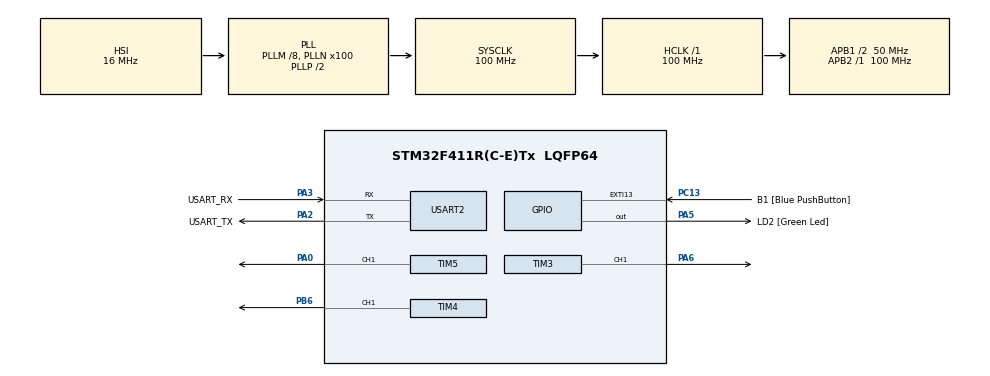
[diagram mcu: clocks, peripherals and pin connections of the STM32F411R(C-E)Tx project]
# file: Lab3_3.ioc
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Mcu.Family=STM32F4
Mcu.Name=STM32F411R(C-E)Tx
Mcu.Package=LQFP64
NVIC.PriorityGroup=NVIC_PRIORITYGROUP_0
NVIC.TIM3_IRQn=true\:0\:0\:false\:false\:true\:true\:true\:true
NVIC.TIM4_IRQn=true\:0\:0\:false\:false\:true\:true\:true\:true
NVIC.TIM5_IRQn=true\:0\:0\:false\:false\:true\:true\:true\:true
PA0-WKUP.Signal=S_TIM5_CH1
PA13.GPIO_Label=TMS
PA13.Mode=Serial_Wire
PA13.Signal=SYS_JTMS-SWDIO
PA14.GPIO_Label=TCK
PA14.Mode=Serial_Wire
PA14.Signal=SYS_JTCK-SWCLK
PA2.GPIO_Label=USART_TX
PA2.Mode=Asynchronous
PA2.Signal=USART2_TX
PA3.GPIO_Label=USART_RX
PA3.Mode=Asynchronous
PA3.Signal=USART2_RX
PA5.GPIO_Label=LD2 [Green Led]
PA5.Signal=GPIO_Output
PA6.Signal=S_TIM3_CH1
PB3.GPIO_Label=SWO
PB3.Signal=SYS_JTDO-SWO
PB6.Signal=S_TIM4_CH1
PC13-ANTI_TAMP.GPIO_Label=B1 [Blue PushButton]
PC13-ANTI_TAMP.GPIO_ModeDefaultEXTI=GPIO_MODE_IT_FALLING
PC13-ANTI_TAMP.Signal=GPXTI13
PC14-OSC32_IN.Mode=LSE-External-Oscillator
PC14-OSC32_IN.Signal=RCC_OSC32_IN
PC15-OSC32_OUT.Mode=LSE-External-Oscillator
PC15-OSC32_OUT.Signal=RCC_OSC32_OUT
PH0\ -\ OSC_IN.Mode=HSE-External-Clock-Source
PH0\ -\ OSC_IN.Signal=RCC_OSC_IN
PH1\ -\ OSC_OUT.Mode=HSE-External-Clock-Source
PH1\ -\ OSC_OUT.Signal=RCC_OSC_OUT
ProjectManager.HeapSize=0x200
ProjectManager.StackSize=0x400
ProjectManager.TargetToolchain=STM32CubeIDE
RCC.48MHZClocksFreq_Value=50000000
RCC.AHBFreq_Value=100000000
RCC.APB1CLKDivider=RCC_HCLK_DIV2
RCC.APB1Freq_Value=50000000
RCC.APB1TimFreq_Value=100000000
RCC.APB2Freq_Value=100000000
RCC.APB2TimFreq_Value=100000000
RCC.CortexFreq_Value=100000000
RCC.FLatency-AdvancedSettings=FLASH_LATENCY_3
RCC.HCLKFreq_Value=100000000
RCC.HSE_VALUE=8000000
RCC.HSI_VALUE=16000000
RCC.PLLM=8
RCC.PLLN=100
RCC.SYSCLKFreq_VALUE=100000000
RCC.SYSCLKSource=RCC_SYSCLKSOURCE_PLLCLK
RCC.VCOOutputFreq_Value=200000000
SH.S_TIM3_CH1.0=TIM3_CH1,PWM Generation1 CH1
SH.S_TIM4_CH1.0=TIM4_CH1,PWM Generation1 CH1
SH.S_TIM5_CH1.0=TIM5_CH1,PWM Generation1 CH1
TIM3.Channel-PWM\ Generation1\ CH1=TIM_CHANNEL_1
TIM3.Period=9999
TIM3.Prescaler=2499
TIM4.Channel-PWM\ Generation1\ CH1=TIM_CHANNEL_1
TIM4.Period=4904
TIM4.Prescaler=4999
TIM5.Channel-PWM\ Generation1\ CH1=TIM_CHANNEL_1
TIM5.Period=9998
TIM5.Prescaler=9999
USART2.VirtualMode=VM_ASYNC
VP_TIM3_VS_ClockSourceINT.Mode=Internal
VP_TIM4_VS_ClockSourceINT.Mode=Internal
VP_TIM5_VS_ClockSourceINT.Mode=Internal
board=NUCLEO-F411RE

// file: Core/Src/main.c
/* USER CODE BEGIN Header */
/**
  ******************************************************************************
  * @file           : main.c
  * @brief          : Main program body
  ******************************************************************************
  * @attention
  *
  * Copyright (c) 2024 STMicroelectronics.
  * All rights reserved.
  *
  * This software is licensed under terms that can be found in the LICENSE file
  * in the root directory of this software component.
  * If no LICENSE file comes with this software, it is provided AS-IS.
  *
  ******************************************************************************
  */
/* USER CODE END Header */
#include "main.h"

/* USER CODE BEGIN Includes */
#include "stm32f4xx_hal_uart.h"
/* USER CODE END Includes */

TIM_HandleTypeDef htim3;
TIM_HandleTypeDef htim4;
TIM_HandleTypeDef htim5;

UART_HandleTypeDef huart2;

void SystemClock_Config(void);
static void MX_GPIO_Init(void);
static void MX_USART2_UART_Init(void);
static void MX_TIM3_Init(void);
static void MX_TIM4_Init(void);
static void MX_TIM5_Init(void);
/* USER CODE BEGIN PFP */
int green = 0;
int orange = 0;

/* USER CODE END PFP */

int main(void)
{

  /* MCU Configuration--------------------------------------------------------*/

  /* Reset of all peripherals, Initializes the Flash interface and the Systick. */
  HAL_Init();

  /* Configure the system clock */
  SystemClock_Config();

  /* Initialize all configured peripherals */
  MX_GPIO_Init();
  MX_USART2_UART_Init();
  MX_TIM3_Init();
  MX_TIM4_Init();
  MX_TIM5_Init();
  /* USER CODE BEGIN 2 */
  HAL_TIM_Base_Start_IT(&htim3);
  HAL_TIM_Base_Start_IT(&htim4);
  HAL_TIM_Base_Start_IT(&htim5);
  /* USER CODE END 2 */

  /* Infinite loop */
  while (1)
  {

  }
}

void SystemClock_Config(void)
{
  RCC_OscInitTypeDef RCC_OscInitStruct = {0};
  RCC_ClkInitTypeDef RCC_ClkInitStruct = {0};

  /** Configure the main internal regulator output voltage
  */
  __HAL_RCC_PWR_CLK_ENABLE();
  __HAL_PWR_VOLTAGESCALING_CONFIG(PWR_REGULATOR_VOLTAGE_SCALE1);

  /** Initializes the RCC Oscillators according to the specified parameters
  * in the RCC_OscInitTypeDef structure.
  */
  RCC_OscInitStruct.OscillatorType = RCC_OSCILLATORTYPE_HSI;
  RCC_OscInitStruct.HSIState = RCC_HSI_ON;
  RCC_OscInitStruct.HSICalibrationValue = RCC_HSICALIBRATION_DEFAULT;
  RCC_OscInitStruct.PLL.PLLState = RCC_PLL_ON;
  RCC_OscInitStruct.PLL.PLLSource = RCC_PLLSOURCE_HSI;
  RCC_OscInitStruct.PLL.PLLM = 8;
  RCC_OscInitStruct.PLL.PLLN = 100;
  RCC_OscInitStruct.PLL.PLLP = RCC_PLLP_DIV2;
  RCC_OscInitStruct.PLL.PLLQ = 4;
  if (HAL_RCC_OscConfig(&RCC_OscInitStruct) != HAL_OK)
  {
    Error_Handler();
  }

  /** Initializes the CPU, AHB and APB buses clocks
  */
  RCC_ClkInitStruct.ClockType = RCC_CLOCKTYPE_HCLK|RCC_CLOCKTYPE_SYSCLK
                              |RCC_CLOCKTYPE_PCLK1|RCC_CLOCKTYPE_PCLK2;
  RCC_ClkInitStruct.SYSCLKSource = RCC_SYSCLKSOURCE_PLLCLK;
  RCC_ClkInitStruct.AHBCLKDivider = RCC_SYSCLK_DIV1;
  RCC_ClkInitStruct.APB1CLKDivider = RCC_HCLK_DIV2;
  RCC_ClkInitStruct.APB2CLKDivider = RCC_HCLK_DIV1;

  if (HAL_RCC_ClockConfig(&RCC_ClkInitStruct, FLASH_LATENCY_3) != HAL_OK)
  {
    Error_Handler();
  }
}

static void MX_TIM3_Init(void)
{

  TIM_ClockConfigTypeDef sClockSourceConfig = {0};
  TIM_MasterConfigTypeDef sMasterConfig = {0};
  TIM_OC_InitTypeDef sConfigOC = {0};

  htim3.Instance = TIM3;
  htim3.Init.Prescaler = 2499;
  htim3.Init.CounterMode = TIM_COUNTERMODE_UP;
  htim3.Init.Period = 9999;
  htim3.Init.ClockDivision = TIM_CLOCKDIVISION_DIV1;
  htim3.Init.AutoReloadPreload = TIM_AUTORELOAD_PRELOAD_DISABLE;
  if (HAL_TIM_Base_Init(&htim3) != HAL_OK)
  {
    Error_Handler();
  }
  sClockSourceConfig.ClockSource = TIM_CLOCKSOURCE_INTERNAL;
  if (HAL_TIM_ConfigClockSource(&htim3, &sClockSourceConfig) != HAL_OK)
  {
    Error_Handler();
  }
  if (HAL_TIM_PWM_Init(&htim3) != HAL_OK)
  {
    Error_Handler();
  }
  sMasterConfig.MasterOutputTrigger = TIM_TRGO_RESET;
  sMasterConfig.MasterSlaveMode = TIM_MASTERSLAVEMODE_DISABLE;
  if (HAL_TIMEx_MasterConfigSynchronization(&htim3, &sMasterConfig) != HAL_OK)
  {
    Error_Handler();
  }
  sConfigOC.OCMode = TIM_OCMODE_PWM1;
  sConfigOC.Pulse = 0;
  sConfigOC.OCPolarity = TIM_OCPOLARITY_HIGH;
  sConfigOC.OCFastMode = TIM_OCFAST_DISABLE;
  if (HAL_TIM_PWM_ConfigChannel(&htim3, &sConfigOC, TIM_CHANNEL_1) != HAL_OK)
  {
    Error_Handler();
  }
  HAL_TIM_MspPostInit(&htim3);

}

static void MX_TIM4_Init(void)
{

  TIM_ClockConfigTypeDef sClockSourceConfig = {0};
  TIM_MasterConfigTypeDef sMasterConfig = {0};
  TIM_OC_InitTypeDef sConfigOC = {0};

  htim4.Instance = TIM4;
  htim4.Init.Prescaler = 4999;
  htim4.Init.CounterMode = TIM_COUNTERMODE_UP;
  htim4.Init.Period = 4904;
  htim4.Init.ClockDivision = TIM_CLOCKDIVISION_DIV1;
  htim4.Init.AutoReloadPreload = TIM_AUTORELOAD_PRELOAD_DISABLE;
  if (HAL_TIM_Base_Init(&htim4) != HAL_OK)
  {
    Error_Handler();
  }
  sClockSourceConfig.ClockSource = TIM_CLOCKSOURCE_INTERNAL;
  if (HAL_TIM_ConfigClockSource(&htim4, &sClockSourceConfig) != HAL_OK)
  {
    Error_Handler();
  }
  if (HAL_TIM_PWM_Init(&htim4) != HAL_OK)
  {
    Error_Handler();
  }
  sMasterConfig.MasterOutputTrigger = TIM_TRGO_RESET;
  sMasterConfig.MasterSlaveMode = TIM_MASTERSLAVEMODE_DISABLE;
  if (HAL_TIMEx_MasterConfigSynchronization(&htim4, &sMasterConfig) != HAL_OK)
  {
    Error_Handler();
  }
  sConfigOC.OCMode = TIM_OCMODE_PWM1;
  sConfigOC.Pulse = 0;
  sConfigOC.OCPolarity = TIM_OCPOLARITY_HIGH;
  sConfigOC.OCFastMode = TIM_OCFAST_DISABLE;
  if (HAL_TIM_PWM_ConfigChannel(&htim4, &sConfigOC, TIM_CHANNEL_1) != HAL_OK)
  {
    Error_Handler();
  }
  HAL_TIM_MspPostInit(&htim4);

}

static void MX_TIM5_Init(void)
{

  TIM_ClockConfigTypeDef sClockSourceConfig = {0};
  TIM_MasterConfigTypeDef sMasterConfig = {0};
  TIM_OC_InitTypeDef sConfigOC = {0};

  htim5.Instance = TIM5;
  htim5.Init.Prescaler = 9999;
  htim5.Init.CounterMode = TIM_COUNTERMODE_UP;
  htim5.Init.Period = 9998;
  htim5.Init.ClockDivision = TIM_CLOCKDIVISION_DIV1;
  htim5.Init.AutoReloadPreload = TIM_AUTORELOAD_PRELOAD_DISABLE;
  if (HAL_TIM_Base_Init(&htim5) != HAL_OK)
  {
    Error_Handler();
  }
  sClockSourceConfig.ClockSource = TIM_CLOCKSOURCE_INTERNAL;
  if (HAL_TIM_ConfigClockSource(&htim5, &sClockSourceConfig) != HAL_OK)
  {
    Error_Handler();
  }
  if (HAL_TIM_PWM_Init(&htim5) != HAL_OK)
  {
    Error_Handler();
  }
  sMasterConfig.MasterOutputTrigger = TIM_TRGO_RESET;
  sMasterConfig.MasterSlaveMode = TIM_MASTERSLAVEMODE_DISABLE;
  if (HAL_TIMEx_MasterConfigSynchronization(&htim5, &sMasterConfig) != HAL_OK)
  {
    Error_Handler();
  }
  sConfigOC.OCMode = TIM_OCMODE_PWM1;
  sConfigOC.Pulse = 0;
  sConfigOC.OCPolarity = TIM_OCPOLARITY_HIGH;
  sConfigOC.OCFastMode = TIM_OCFAST_DISABLE;
  if (HAL_TIM_PWM_ConfigChannel(&htim5, &sConfigOC, TIM_CHANNEL_1) != HAL_OK)
  {
    Error_Handler();
  }
  HAL_TIM_MspPostInit(&htim5);

}

static void MX_USART2_UART_Init(void)
{

  huart2.Instance = USART2;
  huart2.Init.BaudRate = 115200;
  huart2.Init.WordLength = UART_WORDLENGTH_8B;
  huart2.Init.StopBits = UART_STOPBITS_1;
  huart2.Init.Parity = UART_PARITY_NONE;
  huart2.Init.Mode = UART_MODE_TX_RX;
  huart2.Init.HwFlowCtl = UART_HWCONTROL_NONE;
  huart2.Init.OverSampling = UART_OVERSAMPLING_16;
  if (HAL_UART_Init(&huart2) != HAL_OK)
  {
    Error_Handler();
  }

}

static void MX_GPIO_Init(void)
{
  GPIO_InitTypeDef GPIO_InitStruct = {0};

  /* GPIO Ports Clock Enable */
  __HAL_RCC_GPIOC_CLK_ENABLE();
  __HAL_RCC_GPIOH_CLK_ENABLE();
  __HAL_RCC_GPIOA_CLK_ENABLE();
  __HAL_RCC_GPIOB_CLK_ENABLE();

  /*Configure GPIO pin Output Level */
  HAL_GPIO_WritePin(LD2_GPIO_Port, LD2_Pin, GPIO_PIN_RESET);

  /*Configure GPIO pin : B1_Pin */
  GPIO_InitStruct.Pin = B1_Pin;
  GPIO_InitStruct.Mode = GPIO_MODE_IT_FALLING;
  GPIO_InitStruct.Pull = GPIO_NOPULL;
  HAL_GPIO_Init(B1_GPIO_Port, &GPIO_InitStruct);

  /*Configure GPIO pin : LD2_Pin */
  GPIO_InitStruct.Pin = LD2_Pin;
  GPIO_InitStruct.Mode = GPIO_MODE_OUTPUT_PP;
  GPIO_InitStruct.Pull = GPIO_NOPULL;
  GPIO_InitStruct.Speed = GPIO_SPEED_FREQ_LOW;
  HAL_GPIO_Init(LD2_GPIO_Port, &GPIO_InitStruct);

}

/* USER CODE BEGIN 4 */
void HAL_TIM_PeriodElapsedCallback(TIM_HandleTypeDef* htim){
	if (htim->Instance == TIM3){
		HAL_GPIO_TogglePin(GPIOA, GPIO_PIN_5);
		green += 1;
	} else if (htim->Instance == TIM4){
		HAL_GPIO_TogglePin(GPIOA, GPIO_PIN_6);
		orange += 1;
	}else if (htim->Instance == TIM5){
		char gS[10];
		char rS[10];
		sprintf(gS, "%d", green / 2);
		sprintf(rS, "%d", orange / 2);
		HAL_UART_Transmit(&huart2, (uint8_t *)gS, strlen(gS), 10);
		HAL_UART_Transmit(&huart2," " , 1, 10);
		HAL_UART_Transmit(&huart2, (uint8_t *)rS, strlen(rS), 10);
		HAL_UART_Transmit(&huart2,"\r\n" , 2, 10);
	}
}

/* USER CODE END 4 */

void Error_Handler(void)
{
  __disable_irq();
  while (1)
  {
  }
}
